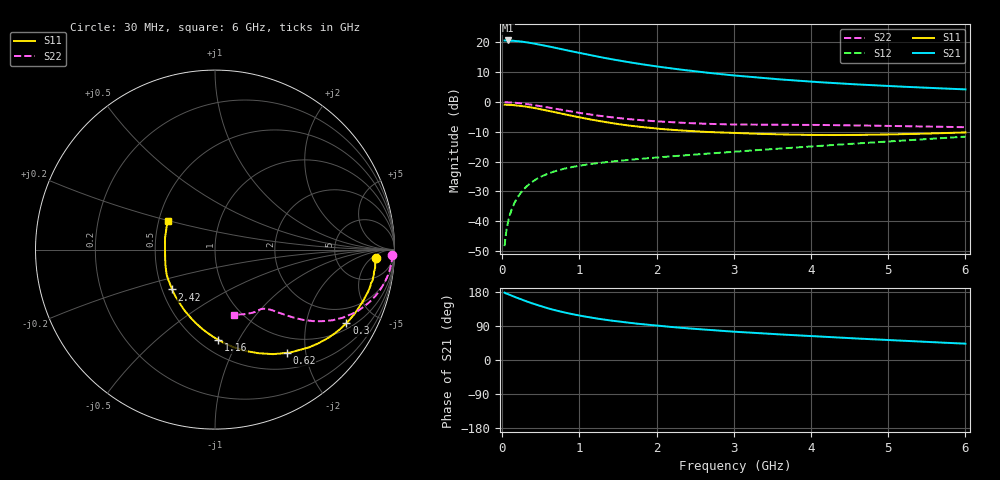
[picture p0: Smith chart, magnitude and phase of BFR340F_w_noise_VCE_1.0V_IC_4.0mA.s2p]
! Infineon Technologies  Discrete & RF Semiconductors
! BFR340F
! VCE =  1.0 V,  IC =  4.0 mA
! Common Emitter S-Parameters:  Nov 2015
# GHz  S  MA  R  50
!  f  S11  S21  S12  S22
! GHz  MAG  ANG  MAG  ANG  MAG  ANG  MAG  ANG
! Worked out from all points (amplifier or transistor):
!   206 points, 30 MHz to 6 GHz, reference 50 ohm
!   highest |S21| = 20.7 dB at 70 MHz (marker M1)
!   |S21| within 3 dB of that: start of sweep to 781 MHz
!   unconditionally stable (mu >= 1): 2.931 GHz to end of sweep
!   at 200 MHz: K = 0.11, MSG = 26.2 dB, |S12| = -31.9 dB
!   at 1.56 GHz: K = 0.73, MSG = 16.7 dB, |S12| = -19.6 dB
!   at 6 GHz: K = 1.02, MAG = 7.1 dB, |S12| = -11.6 dB
!   lowest NFmin = 1.00 dB at 900 MHz
!   S11 on the Smith chart (normalised r, x): 30 MHz: 15, -7; 300 MHz: 1.23, -3.41; 620 MHz: 0.74, -1.66; 1.16 GHz: 0.61, -0.83; 2.42 GHz: 0.56, -0.28; 6 GHz: 0.56, +0.20
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0.03  0.8994 -2.9  10.76 177.8  0.0038 88.4  0.9885 -1.7
0.05  0.8957 -5.0  10.71 175.4  0.0065 87.9  0.9877 -2.8
0.07  0.8966 -7.3  10.79 173.9  0.0092 85.5  0.9866 -4.0
0.14  0.8868 -14.2  10.66 168.4  0.0179 82.3  0.9758 -8.0
0.2  0.8711 -19.9  10.49 163.5  0.0253 79.1  0.9616 -11.2
0.3  0.8393 -29.3  10.11 155.8  0.0367 74.3  0.9301 -16.2
0.36  0.816 -34.6  9.827 151.4  0.0429 71.6  0.907 -19.0
0.45  0.7774 -42.2  9.367 145.2  0.0514 68.1  0.8705 -22.8
0.52  0.7451 -47.7  8.992 140.8  0.0572 65.5  0.84 -25.4
0.62  0.7004 -55.2  8.469 134.9  0.0646 62.5  0.7975 -28.7
0.8  0.6246 -67.5  7.544 125.6  0.0757 58.4  0.7256 -33.3
1.04  0.5395 -81.4  6.492 115.8  0.0868 54.8  0.6449 -37.7
1.16  0.5038 -87.8  6.039 111.6  0.0915 53.7  0.6112 -39.3
1.32  0.4637 -95.6  5.508 106.6  0.097 52.7  0.5733 -41.1
1.54  0.4187 -105.6  4.897 100.7  0.1039 52.0  0.5314 -43.1
1.78  0.3833 -115.3  4.354 95.1  0.1107 51.9  0.4971 -44.8
2.02  0.356 -123.9  3.922 90.4  0.1176 52.2  0.4719 -46.2
2.42  0.3264 -137.1  3.364 83.3  0.1289 53.2  0.4422 -48.5
3.1  0.2992 -155.0  2.72 73.6  0.1493 55.0  0.4182 -52.7
4.1  0.2792 -175.5  2.153 62.0  0.1828 57.3  0.4117 -57.9
5.1  0.287 164.9  1.829 51.7  0.2216 58.1  0.3951 -65.5
6  0.308 148.5  1.628 43.1  0.2619 57.9  0.3773 -73.7
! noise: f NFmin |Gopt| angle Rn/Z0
0.45  1.01  0.55  3  0.35
0.9  1  0.53  12  0.38
1.9  1.26  0.4  21  0.34
2.4  1.35  0.37  30  0.33
